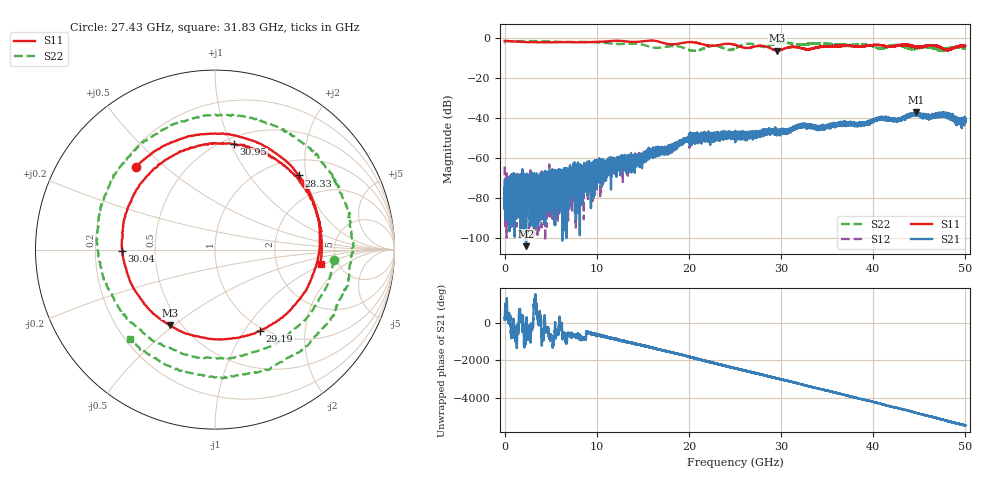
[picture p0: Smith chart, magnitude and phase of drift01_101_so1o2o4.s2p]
!Created with skrf (http://scikit-rf.org).
# Hz S RI R 50.0
!freq ReS11 ImS11 ReS21 ImS21 ReS12 ImS12 ReS22 ImS22
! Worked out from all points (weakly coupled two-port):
!   10001 points, 300 kHz to 50 GHz, reference 50 ohm
!   highest |S21| = -36.92 dB at 44.62 GHz (marker M1); lowest = -104.3 dB at 2.33 GHz (marker M2)
!   lowest |S11| = -6.2 dB at 29.61 GHz (marker M3), VSWR 2.92, Z = 21.9 - j24.4 ohm
!   |S11| at or under -10 dB: nowhere
!   |S22| runs from -6.5 to -1.4 dB; largest |S21 - S12| = 0.0039
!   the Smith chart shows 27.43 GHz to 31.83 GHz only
!   S11 on the Smith chart (normalised r, x): 27.43 GHz: 0.26, +0.41; 28.33 GHz: 1.34, +1.82; 29.19 GHz: 0.95, -1.18; 30.04 GHz: 0.32, -0.01; 30.95 GHz: 0.56, +1.02; 31.83 GHz: 3.69, -0.93
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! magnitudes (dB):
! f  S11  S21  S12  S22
! 300 kHz  -1.3  -85.8  -64.3  -2.1
! 290.3 MHz  -1.4  -75.4  -79.0  -1.4
! 2.33 GHz  -1.9  -104.3  -93.3  -1.4
! 6.07 GHz  -1.9  -69.4  -70.7  -1.8
! 8.335 GHz  -2.0  -75.4  -68.1  -1.8
! 10.25 GHz  -1.8  -63.1  -65.7  -2.1
! 16.67 GHz  -1.6  -56.1  -56.0  -4.8
! 20.37 GHz  -1.9  -47.9  -50.5  -6.3
! 22.61 GHz  -3.8  -51.3  -49.1  -3.8
! 25 GHz  -3.3  -50.3  -49.5  -5.1
! 27.43 GHz  -3.9  -48.3  -48.3  -3.6
! 28.33 GHz  -4.1  -46.9  -47.2  -4.2
! 29.19 GHz  -5.7  -47.5  -47.1  -3.1
! 29.61 GHz  -6.2  -46.9  -46.8  -2.5
! 30.04 GHz  -5.7  -46.7  -46.0  -2.2
! 30.95 GHz  -4.5  -46.5  -46.5  -2.5
! 31.83 GHz  -4.5  -45.2  -44.3  -3.2
! 33.34 GHz  -5.2  -43.9  -44.5  -2.6
! 41.67 GHz  -4.3  -40.9  -40.6  -4.5
! 44.62 GHz  -4.2  -36.9  -38.0  -5.2
! 47.68 GHz  -5.5  -38.2  -38.0  -6.0
! 50 GHz  -3.8  -41.8  -41.9  -5.4
